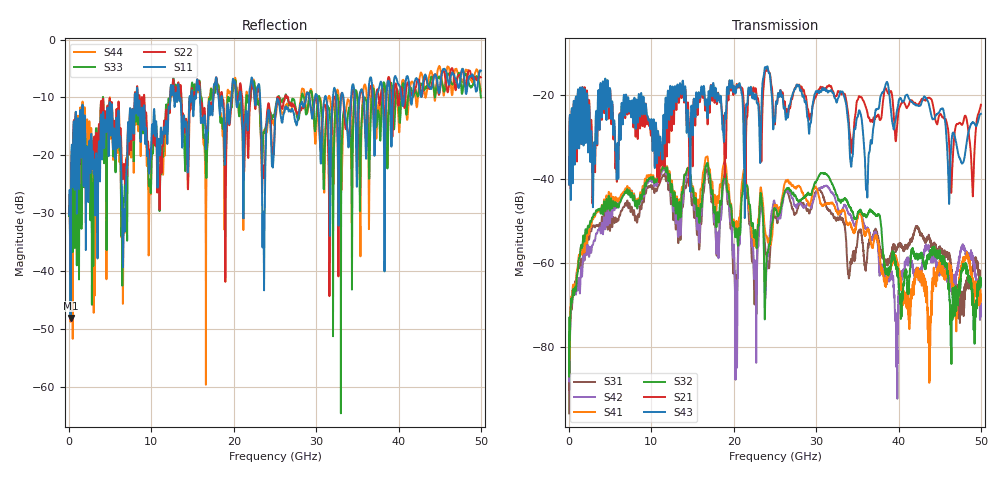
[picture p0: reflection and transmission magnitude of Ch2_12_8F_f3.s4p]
!Agilent Technologies,N5247A,US51170199,A.09.90.13
!Agilent N5247A: A.09.90.13
!Date: Tuesday, December 08, 2015 12:23:33
!Correction: S11(Full 4 Port(1,2,3,4))
!S12(Full 4 Port(1,2,3,4))
!S13(Full 4 Port(1,2,3,4))
!S14(Full 4 Port(1,2,3,4))
!S21(Full 4 Port(1,2,3,4))
!S22(Full 4 Port(1,2,3,4))
!S23(Full 4 Port(1,2,3,4))
!S24(Full 4 Port(1,2,3,4))
!S31(Full 4 Port(1,2,3,4))
!S32(Full 4 Port(1,2,3,4))
!S33(Full 4 Port(1,2,3,4))
!S34(Full 4 Port(1,2,3,4))
!S41(Full 4 Port(1,2,3,4))
!S42(Full 4 Port(1,2,3,4))
!S43(Full 4 Port(1,2,3,4))
!S44(Full 4 Port(1,2,3,4))
!S4P File: Measurements: <S11,S12,S13,S14>,
!<S21,S22,S23,S24>,
!<S31,S32,S33,S34>,
!<S41,S42,S43,S44>:
# Hz S  dB  R 50
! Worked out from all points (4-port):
!   3201 points, 10 MHz to 50 GHz, reference 50 ohm
!   strongest paths, dB at 10 MHz, 12.51 GHz, 25 GHz, 37.5 GHz, 50 GHz:
!     S43: -41.4, -20.3, -26.1, -23.4, -24.5
!     S21: -41.3, -21.6, -26.9, -24.7, -22.4
!     S32: -73.0, -41.5, -47.2, -48.4, -63.7
!     S41: -78.5, -40.9, -46.2, -54.5, -68.8
!     S42: -78.4, -41.6, -45.9, -56.1, -72.0
!     S31: -95.8, -43.3, -49.1, -54.0, -64.2
!   lowest |S11| = -48.1 dB at 181.8 MHz (marker M1), VSWR 1.01, Z = 50.1 - j0.384 ohm
!   |S11| at or under -10 dB: start of sweep to 7.973 GHz; 8.34 GHz to 12.28 GHz (3.945 GHz wide, 38.3 % of centre); 23.19 GHz to 28.79 GHz (5.6 GHz wide, 21.5 % of centre)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
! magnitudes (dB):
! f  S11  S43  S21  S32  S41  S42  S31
! 10 MHz  -30.2  -41.4  -41.3  -73.0  -78.5  -78.4  -95.8
! 181.8 MHz  -48.1  -30.8  -30.6  -71.7  -70.7  -72.8  -73.4
! 16.68 GHz  -17.9  -21.1  -21.8  -36.6  -34.8  -36.9  -38.2
! 20.29 GHz  -10.3  -18.8  -18.4  -52.6  -50.5  -65.4  -63.6
! 21.3 GHz  -14.8  -38.7  -24.8  -38.8  -37.7  -39.1  -39.5
! 31.18 GHz  -9.9  -19.1  -18.6  -38.9  -46.0  -41.7  -46.3
! 50 GHz  -5.4  -24.5  -22.4  -63.7  -68.8  -72.0  -64.2
